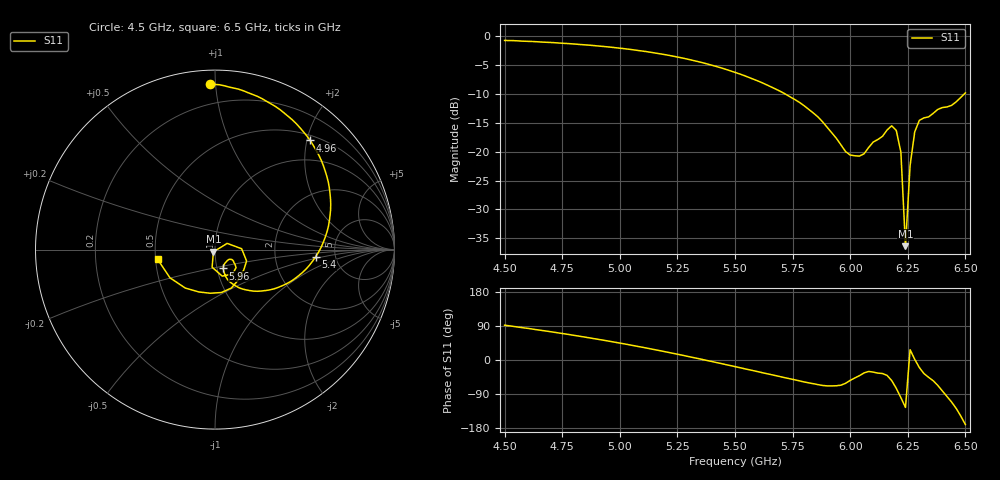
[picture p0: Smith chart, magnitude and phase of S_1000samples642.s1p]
! TOUCHSTONE file generated by CST MICROWAVE STUDIO
! Date and time: Fri Oct 28 21:25:20 2022
! Project name: L.cst
! Parameters = {Di=1.27; Epsilon_r=1.56; InnerDiameter=1.27; Length=2; Lf=10; Lg=60; OuterConductorThickness=0.2921; OuterDiameter=3.6; Wf=3; Wp=41.2; de=1.5; df=6.8; g=0.8; gx=3.38656; gy=4.49478; h=2.34; hf=1.524; px=14.5969; py=9.23404; w=9.7; wx=11.2104; wy=4.73926}
! Header version: 2018
! Port assignment regex: !\s*Touchstone port\s*([0-9]+)\s*=\s*(CST MWS port|CST DS port)\s*([0-9]+|Zmin|Zmax)\s*\(\"(.*)\"\)(\s*mode\s*([0-9]+))?.*
! Touchstone port assignment:
! Touchstone port 1 = CST MWS port 1 ("")
# GHz S DB R 50
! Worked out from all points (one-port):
!   101 points, 4.5 GHz to 6.5 GHz, reference 50 ohm
!   lowest |S11| = -36.4 dB at 6.24 GHz (marker M1), VSWR 1.03, Z = 49.1 - j1.22 ohm
!   |S11| at or under -10 dB: 5.719 GHz to 6.495 GHz (775.9 MHz wide, 12.7 % of centre)
!   S11 on the Smith chart (normalised r, x): 4.5 GHz: 0.08, +0.97; 4.96 GHz: 0.59, +2.06; 5.4 GHz: 3.52, -0.41; 5.96 GHz: 1.07, -0.23; 6.5 GHz: 0.51, -0.06
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4.5  -0.70 91.8
4.62  -0.88 81.7
4.76  -1.21 69.1
4.96  -1.86 48.9
5  -2.04 44.6
5.14  -2.79 28.6
5.26  -3.65 14.0
5.4  -5.00 -4.1
5.5  -6.24 -17.4
5.62  -8.07 -33.6
5.76  -10.95 -52.3
5.86  -13.96 -64.9
5.96  -18.81 -66.4
6  -20.57 -53.8
6.06  -20.36 -34.1
6.16  -16.23 -40.6
6.18  -15.50 -54.1
6.2  -16.30 -74.7
6.22  -20.05 -99.4
6.24  -36.36 -125.2
6.26  -22.37 27.1
6.28  -16.56 1.9
6.3  -14.56 -19.8
6.38  -12.66 -67.0
6.42  -12.23 -96.2
6.46  -11.34 -127.8
6.48  -10.58 -147.9
6.5  -9.79 -170.3
